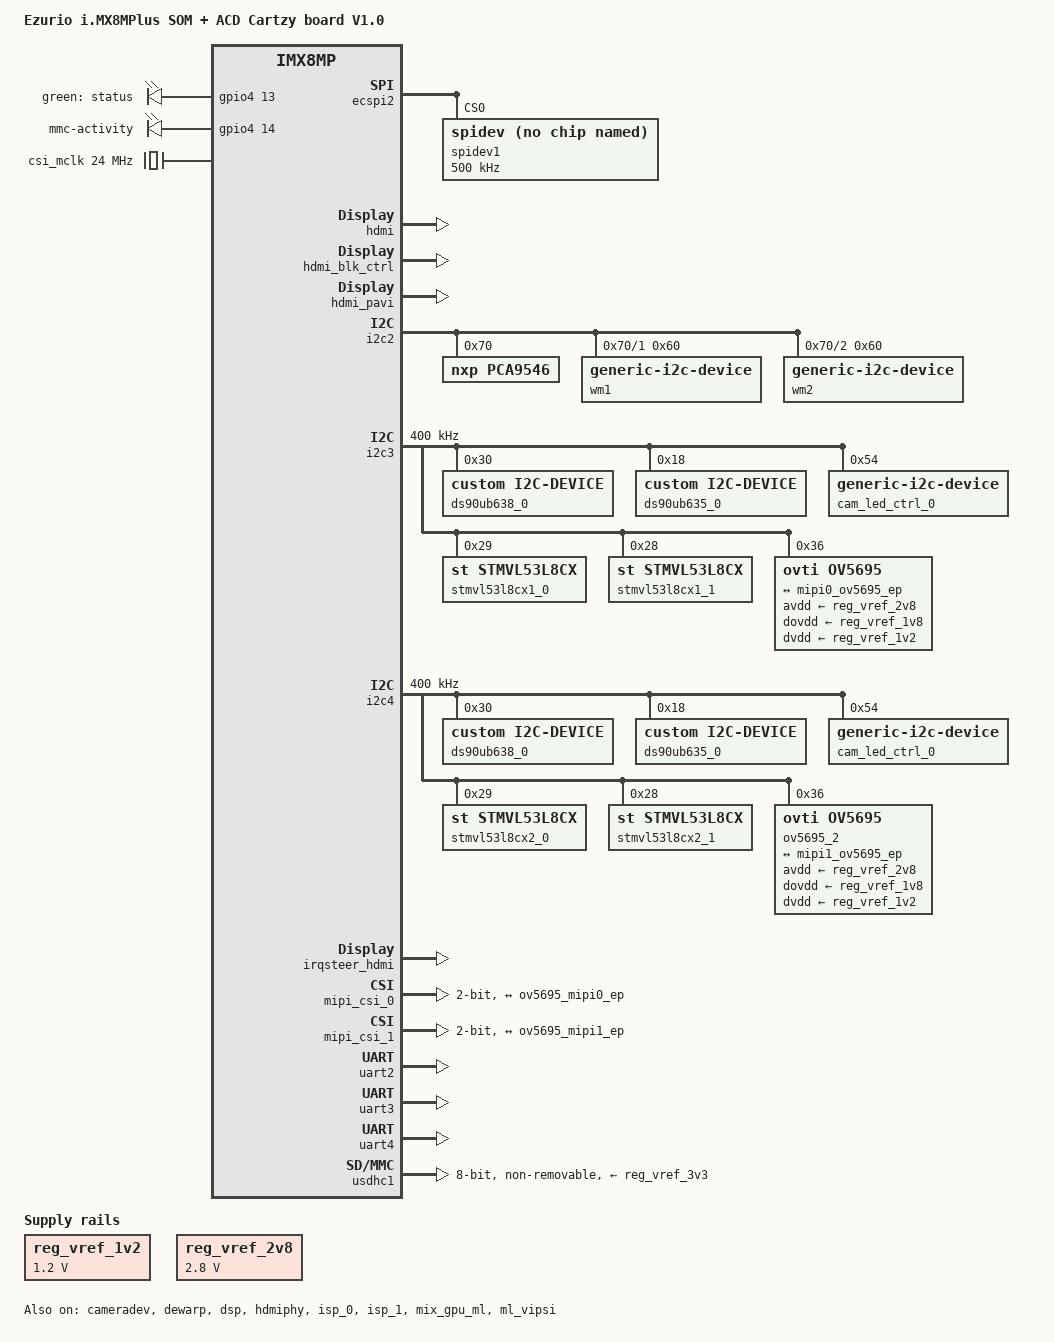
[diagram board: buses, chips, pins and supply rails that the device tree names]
// SPDX-License-Identifier: (GPL-2.0+ OR MIT)
/*
 * Device Tree file for Boundary Devices Nitrogen8MP SOM
 * installed on Cartzy Control Board V1.0 by ACD
 *
 * @author Nikita Bulaev agency@grovety.com
 */

/dts-v1/;

#include <dt-bindings/usb/pd.h>
#include <dt-bindings/interconnect/ti,ds90ub635.h>
#include <dt-bindings/interconnect/ti,ds90ub638.h>
#include "imx8mp-nitrogen8mp-som.dtsi"

&iomuxc {
	pinctrl-names = "default";
	pinctrl-0 = <&pinctrl_hog>;

	pinctrl_gpio_led: gpioledgrp {
		fsl,pins = <
		/* These pins controled by gpio-leds */
		MX8MP_IOMUXC_SAI1_TXD1__GPIO4_IO13    0x140 /* Blue CPU LED1 */
		MX8MP_IOMUXC_SAI1_TXD2__GPIO4_IO14	  0x140 /* Blue CPU LED2 */

		/* These pins controled by gpio-keys */

#define GP_CPU_LED3	<&gpio4 15 GPIO_ACTIVE_HIGH>
		MX8MP_IOMUXC_SAI1_TXD3__GPIO4_IO15	  0x100 /* Blue CPU LED3 */
		>;
	};

	pinctrl_ecspi2: ecspi2grp {
		fsl,pins = <
			/* J31 */
			MX8MP_IOMUXC_ECSPI2_SCLK__ECSPI2_SCLK		0x82	/* Pin 20 */
			MX8MP_IOMUXC_ECSPI2_MOSI__ECSPI2_MOSI		0x82	/* Pin 10 */
			MX8MP_IOMUXC_ECSPI2_MISO__ECSPI2_MISO		0x82	/* Pin 8 */
#define GP_ECSPI2_CS	<&gpio5 13 GPIO_ACTIVE_LOW>
			MX8MP_IOMUXC_ECSPI2_SS0__GPIO5_IO13		0x143	/* Pin 6 */
		>;
	};

	pinctrl_hog: hoggrp {
		fsl,pins = <
			MX8MP_IOMUXC_HDMI_DDC_SCL__HDMIMIX_HDMI_SCL	0x400001c3
			MX8MP_IOMUXC_HDMI_DDC_SDA__HDMIMIX_HDMI_SDA	0x400001c3
			MX8MP_IOMUXC_HDMI_HPD__HDMIMIX_HDMI_HPD		0x40000019
			MX8MP_IOMUXC_HDMI_CEC__HDMIMIX_HDMI_CEC		0x40000019
			MX8MP_IOMUXC_NAND_DATA01__GPIO3_IO07		0x119
			/* J31 */
			MX8MP_IOMUXC_SPDIF_RX__GPIO5_IO04		0x41	/* Pin 17 */
			MX8MP_IOMUXC_SPDIF_EXT_CLK__GPIO5_IO05	0x41	/* Pin 19 */
			MX8MP_IOMUXC_SPDIF_TX__GPIO5_IO03		0x41	/* Pin 21 */
			MX8MP_IOMUXC_SAI1_MCLK__GPIO4_IO20		0x16	/* Pin 2 */
			MX8MP_IOMUXC_SAI1_TXD7__GPIO4_IO19		0x1c4	/* Pin 4 */

#define WM_RESET_CTRL	<&gpio4 16 GPIO_ACTIVE_HIGH>
			MX8MP_IOMUXC_SAI1_TXD4__GPIO4_IO16	0x100

#define CAM_POWER_CTRL	<&gpio4 18 GPIO_ACTIVE_HIGH>
			MX8MP_IOMUXC_SAI1_TXD6__GPIO4_IO18	0x1c0
		>;
	};

/*	pinctrl_i2c2_pca9546: i2c2-pca9546grp {
		fsl,pins = <
#define GP_PCA9546_RESET	<&gpio1 5 GPIO_ACTIVE_LOW>
			MX8MP_IOMUXC_GPIO1_IO05__GPIO1_IO05        	0x100
		>;
	};*/

	pinctrl_pdm: pdmgrp {
		fsl,pins = <
			MX8MP_IOMUXC_SAI1_RXC__AUDIOMIX_PDM_CLK			0xd6
			MX8MP_IOMUXC_SAI3_RXFS__AUDIOMIX_PDM_BIT_STREAM00	0xd6
		>;
	};

	pinctrl_pwm4: pwm4grp {
		fsl,pins = <
			/* J31, pin 36 */
			MX8MP_IOMUXC_SAI5_RXFS__PWM4_OUT	0x116
		>;
	};

	pinctrl_reg_usbotg_vbus: reg-usbotg-vbusgrp {
		fsl,pins = <
#define GP_REG_USB_OTG_VBUS	<&gpio1 12 GPIO_ACTIVE_HIGH>
			MX8MP_IOMUXC_GPIO1_IO12__GPIO1_IO12	0x100
		>;
	};

	pinctrl_uart2: uart2grp {
		fsl,pins = <
			MX8MP_IOMUXC_UART2_RXD__UART2_DCE_RX	0x140
			MX8MP_IOMUXC_UART2_TXD__UART2_DCE_TX	0x140
		>;
	};

	pinctrl_uart3: uart3grp {
		fsl,pins = <
			MX8MP_IOMUXC_ECSPI1_SCLK__UART3_DCE_RX	0x140
			MX8MP_IOMUXC_ECSPI1_MOSI__UART3_DCE_TX	0x140
		>;
	};

	pinctrl_uart4: uart4grp {
		fsl,pins = <
			MX8MP_IOMUXC_UART4_RXD__UART4_DCE_RX	0x140
			MX8MP_IOMUXC_UART4_TXD__UART4_DCE_TX	0x140
		>;
	};

	pinctrl_usdhc1: usdhc1grp {
		fsl,pins = <
		MX8MP_IOMUXC_SD1_CLK__USDHC1_CLK    0x190
		MX8MP_IOMUXC_SD1_CMD__USDHC1_CMD    0x1d0
		MX8MP_IOMUXC_SD1_DATA0__USDHC1_DATA0    0x1d0
		MX8MP_IOMUXC_SD1_DATA1__USDHC1_DATA1    0x1d0
		MX8MP_IOMUXC_SD1_DATA2__USDHC1_DATA2    0x1d0
		MX8MP_IOMUXC_SD1_DATA3__USDHC1_DATA3    0x1d0
		MX8MP_IOMUXC_SD1_DATA4__USDHC1_DATA4    0x1d0
		MX8MP_IOMUXC_SD1_DATA5__USDHC1_DATA5    0x1d0
		MX8MP_IOMUXC_SD1_DATA6__USDHC1_DATA6    0x1d0
		MX8MP_IOMUXC_SD1_DATA7__USDHC1_DATA7    0x1d0
		/*MX8MP_IOMUXC_GPIO1_IO03__USDHC1_VSELECT    0x116*/
		MX8MP_IOMUXC_SD1_STROBE__USDHC1_STROBE    0x10
		MX8MP_IOMUXC_SD1_RESET_B__USDHC1_RESET_B 0x140
		>;
	};

	pinctrl_usdhc1_100mhz: usdhc1grp-100mhz {
		fsl,pins = <
		MX8MP_IOMUXC_SD1_CLK__USDHC1_CLK    0x194
		MX8MP_IOMUXC_SD1_CMD__USDHC1_CMD    0x1d4
		MX8MP_IOMUXC_SD1_DATA0__USDHC1_DATA0    0x1d4
		MX8MP_IOMUXC_SD1_DATA1__USDHC1_DATA1    0x1d4
		MX8MP_IOMUXC_SD1_DATA2__USDHC1_DATA2    0x1d4
		MX8MP_IOMUXC_SD1_DATA3__USDHC1_DATA3    0x1d4
		MX8MP_IOMUXC_SD1_DATA4__USDHC1_DATA4    0x1d4
		MX8MP_IOMUXC_SD1_DATA5__USDHC1_DATA5    0x1d4
		MX8MP_IOMUXC_SD1_DATA6__USDHC1_DATA6    0x1d4
		MX8MP_IOMUXC_SD1_DATA7__USDHC1_DATA7    0x1d4
		MX8MP_IOMUXC_SD1_STROBE__USDHC1_STROBE  0x14
		>;
	};

	pinctrl_usdhc1_200mhz: usdhc1grp-200mhz {
		fsl,pins = <
		MX8MP_IOMUXC_SD1_CLK__USDHC1_CLK    0x196
		MX8MP_IOMUXC_SD1_CMD__USDHC1_CMD    0x1d6
		MX8MP_IOMUXC_SD1_DATA0__USDHC1_DATA0    0x1d6
		MX8MP_IOMUXC_SD1_DATA1__USDHC1_DATA1    0x1d6
		MX8MP_IOMUXC_SD1_DATA2__USDHC1_DATA2    0x1d6
		MX8MP_IOMUXC_SD1_DATA3__USDHC1_DATA3    0x1d6
		MX8MP_IOMUXC_SD1_DATA4__USDHC1_DATA4    0x1d6
		MX8MP_IOMUXC_SD1_DATA5__USDHC1_DATA5    0x1d6
		MX8MP_IOMUXC_SD1_DATA6__USDHC1_DATA6    0x1d6
		MX8MP_IOMUXC_SD1_DATA7__USDHC1_DATA7    0x1d6
		MX8MP_IOMUXC_SD1_STROBE__USDHC1_STROBE  0x12
		>;
	};

	/* No GPIO pins for camera
	pinctrl_i2c3_ov5695_mipi: i2c3-ov5695-mipigrp {
		fsl,pins = <>;
	};*/

	/* No GPIO pins for camera
	pinctrl_i2c4_ov5695_mipi: i2c4-ov5695-mipigrp {
		fsl,pins = <

		>;
	};
	*/

	pinctrl_i2c3_tof: i2c3_tofgrp {
		fsl,pins = <
		/* TOF 1/2 INT - Input, trigger on falling GPIO0 */
#define GP_TOF_INT1_2	<&gpio1 4 IRQ_TYPE_LEVEL_LOW>
		MX8MP_IOMUXC_GPIO1_IO04__GPIO1_IO04	0x166

		/* TOF 1 SYNC GPIO1 */
#define GP_TOF_SYNC1	<&gpio1 10 GPIO_ACTIVE_HIGH>
		MX8MP_IOMUXC_GPIO1_IO10__GPIO1_IO10	0x116

		/* TOF 1 RESET GPIO2 */
#define GP_TOF_RESET1  <&gpio1 13 GPIO_ACTIVE_HIGH>
		MX8MP_IOMUXC_GPIO1_IO13__GPIO1_IO13	0x106
		>;
	};

	pinctrl_i2c4_tof: i2c4_tofgrp {
		fsl,pins = <
		/* TOF 3/4 INT - Input, trigger on falling GPIO0 */
#define GP_TOF_INT3_4	<&gpio1 5 IRQ_TYPE_LEVEL_LOW>
		MX8MP_IOMUXC_GPIO1_IO05__GPIO1_IO05	0x166

		/* TOF 3 SYNC GPIO1 */
#define GP_TOF_SYNC3	<&gpio1 6 GPIO_ACTIVE_HIGH>
		MX8MP_IOMUXC_GPIO1_IO06__GPIO1_IO06	0x116

		/* TOF 3 RESET GPIO2 */
#define GP_TOF_RESET3	<&gpio1 8 GPIO_ACTIVE_HIGH>
		MX8MP_IOMUXC_GPIO1_IO08__GPIO1_IO08	0x106
		>;
	};
};

&pinctrl_i2c3_tof {
	/* TOF 2 SYNC GPIO3 */
	tof_sync2_open_drain: tof_sync2_open_drain {
		fsl,pins = <
#define GP_TOF_SYNC2    <&gpio1 7 (GPIO_ACTIVE_HIGH | GPIO_OPEN_DRAIN)>
		MX8MP_IOMUXC_GPIO1_IO07__GPIO1_IO07    0x030 /* OpenDrain output */
		>;
        drive-open-source; /* Also force open source */
    };
};

&pinctrl_i2c4_tof {
	/* TOF 4 SYNC GPIO3 */
	tof_sync4_open_drain: tof_sync4_open_drain {
		fsl,pins = <
#define GP_TOF_SYNC4    <&gpio1 14 (GPIO_ACTIVE_HIGH | GPIO_OPEN_DRAIN)>
		MX8MP_IOMUXC_GPIO1_IO14__GPIO1_IO14    0x030 /* OpenDrain output */
		>;
		drive-open-source; /* Also force open source */
	};
};

/ {
	model = "Ezurio i.MX8MPlus SOM + ACD Cartzy board V1.0";
	compatible = "fsl,imx8mp-custom-board", "boundary,imx8mp-nitrogen8mp", "fsl,imx8mp";

	aliases {
		fb_hdmi = &lcdif3;
	};

	chosen {
		stdout-path = &uart2;
	};

	gpio-leds {
		compatible = "gpio-leds";
		pinctrl-names = "default";
		pinctrl-0 = <&pinctrl_gpio_led>;

		status {
			label = "green: status";
			gpios = <&gpio4 13 GPIO_ACTIVE_HIGH>;
			default-state = "on";
			linux,default-trigger = "heartbeat";
		};

		activity_led {
			label = "mmc-activity";
			gpios = <&gpio4 14 GPIO_ACTIVE_HIGH>;
			linux,default-trigger = "mmc2";
		};
	};

	gpio_keys: gpio-keys {
		compatible = "gpio-keys";
		pinctrl-names = "default";
	};

	sound_hdmi: sound-hdmi {
		compatible = "fsl,imx-audio-hdmi";
		model = "audio-hdmi";
		audio-cpu = <&aud2htx>;
		hdmi-out;
		constraint-rate = <44100>,
				<88200>,
				<176400>,
				<32000>,
				<48000>,
				<96000>,
				<192000>;
		status = "disabled";
	};

	sound-wm8960 {
		status = "disabled";
	};

	csi_mclk: csi-mclk {
		compatible = "fixed-clock";
		#clock-cells = <0>;
		clock-frequency = <24000000>;
		clock-output-names = "csi_mclk";
		status = "okay";
	};

	reg_vref_1v2: regulator-vref-1v2 {
		compatible = "regulator-fixed";
		regulator-name = "vref-1v2";
		regulator-min-microvolt = <1200000>;
		regulator-max-microvolt = <1200000>;
	};

	reg_vref_2v8: regulator-vref-2v8 {
		compatible = "regulator-fixed";
		regulator-name = "vref-2v8";
		regulator-min-microvolt = <2800000>;
		regulator-max-microvolt = <2800000>;
	};
};

&aud2htx {
	status = "disabled";
};

&cameradev {
	status = "okay";
};

&isi_0 {
	status = "disabled";

	m2m_device {
		status = "disabled";
	};
};

&isi_1 {
	status = "disabled";
};

&dewarp {
	status = "okay";
};

&dsp {
	status = "okay";
};

&easrc {
	status = "disabled";
};

&ecspi2 {
	#address-cells = <1>;
	#size-cells = <0>;
	fsl,spi-num-chipselects = <1>;
	pinctrl-names = "default";
	pinctrl-0 = <&pinctrl_ecspi2>;
	cs-gpios = GP_ECSPI2_CS;
	status = "okay";

	spidev1: spi@0 {
		compatible = "spidev";
		reg = <0>;
		spi-max-frequency = <500000>;
	};
};

&fec {
	status = "disabled";
};

&eqos {
	status = "disabled";
};

&flexcan1 {
	status = "disabled";
};

&flexcan2 {
	status = "disabled";
};

&hdmi {
	status = "okay";
};

&hdmiphy {
	status = "okay";
};

&hdmi_blk_ctrl {
	status = "okay";
};

&hdmi_pavi {
	status = "okay";
};

&i2c2 {
	pca9546: i2cmux9546@70 {
		// pinctrl-names = "default";
		// pinctrl-0 = <&pinctrl_i2c2_pca9546>;
		compatible = "nxp,pca9546";
		reg = <0x70>;
		// reset-gpios = GP_PCA9546_RESET;
		#address-cells = <1>;
		#size-cells = <0>;

		i2c2a: i2c2@0 {
			clock-frequency = <100000>;
			reg = <0>;
			#address-cells = <1>;
			#size-cells = <0>;

			/* Battery module I2C */
		};

		i2c2b: i2c2@1 {
			clock-frequency = <100000>;
			reg = <1>;
			#address-cells = <1>;
			#size-cells = <0>;

			/* Weight module #1 I2C  */
			wm1@60 {
				compatible = "generic-i2c-device";
				reg = <0x60>;
			};
		};

		i2c2c: i2c2@2 {
			clock-frequency = <100000>;
			reg = <2>;
			#address-cells = <1>;
			#size-cells = <0>;

			/* Weight module #2 I2C  */
			wm2@60 {
				compatible = "generic-i2c-device";
				reg = <0x60>;
			};
		};

		i2c2d: i2c2@3 {
			clock-frequency = <100000>;
			reg = <3>;
			#address-cells = <1>;
			#size-cells = <0>;

			/* Display I2C */
		};
	};
};

&i2c2a {
	status = "disabled";
};

&i2c2b {
	status = "okay";
};

&i2c2c {
	status = "okay";
};

&i2c2d {
	status = "disabled";
};

&i2c3 {
	status = "okay";
	clock-frequency = <400000>;
	pinctrl-names = "default";

	/* DS90UB638 deserializer */
	ds90ub638_0@30 {
		compatible = "custom,i2c-device";
		reg = <0x30>;
		#address-cells = <1>;
		#size-cells = <0>;

		/*pinctrl-0 = <&pinctrl_ds90ub638_1>;		*/

		release-after-config = <1>;		// Release device after configuration

		init-regs {
			reg@0 {
				address = <TI_DS90UB638_RX_PORT_CTL_REG>;
				mask = <TI_DS90UB638_RX_PORT_CTL_STARTUP_BIT_MASK>;
				value = <TI_DS90UB638_RX_PORT_CTL_STARTUP_BIT_SET>;
				operation = "setbits";
			};
			reg@1 {
				address = <TI_DS90UB638_FWD_CTL2_REG>;
				mask = <TI_DS90UB638_FWD_CTL2_FWD_SYNC_AS_AVAIL_MASK>;
				value = <TI_DS90UB638_FWD_CTL2_FWD_SYNC_AS_AVAIL>;
				operation = "setbits";
			};
			reg@2 {
				address = <TI_DS90UB638_GENERAL_CFG_REG>;
				value = <(TI_DS90UB638_GENERAL_CFG_I2C_CONTROLLER_ENABLE |
							TI_DS90UB638_GENERAL_CFG_OUTPUT_EN_MODE |
							TI_DS90UB638_GENERAL_CFG_OUTPUT_ENABLE |
							TI_DS90UB638_GENERAL_CFG_OUTPUT_SLEEP_STATE_SELECT |
							TI_DS90UB638_GENERAL_CFG_RX_PARITY_CHECKER_ENABLE)>;
				operation = "overwrite";
			};
			reg@3 {
				address = <TI_DS90UB638_FPD3_PORT_SEL_REG>;
				value = <TI_DS90UB638_FPD3_PORT_SEL_RX_WRITE_PORT_0_EN>;
				operation = "overwrite";
			};
			reg@4 {
				address = <TI_DS90UB638_BCC_CONFIG_REG>;
				value = <(TI_DS90UB638_BCC_CONFIG_I2C_PASS_THROUGH_ALL_EN |
							TI_DS90UB638_BCC_CONFIG_BC_ALWAYS_ON_EN |
							TI_DS90UB638_BCC_CONFIG_BC_CRC_GENERATOR_ENABLE_EN|
							TI_DS90UB638_BCC_CONFIG_BC_FREQ_SELECT_50MBPS)>;
				operation = "overwrite";
			};
			reg@5 {
				address = <TI_DS90UB638_FWD_CTL1_REG>;
				mask = <TI_DS90UB638_FWD_CTL1_FWD_PORT0_MASK>;
				value = <TI_DS90UB638_FWD_CTL1_FWD_PORT0_EN>;
				operation = "setbits";
			};
			reg@6 {
				// Turn on GPIOs transfer
				address = <TI_DS90UB638_DATAPATH_CTL1_REG>;
				value = <TI_DS90UB638_DATAPATH_CTL1_FC_GPIO_EN_FOUR>;
				operation = "overwrite";
			};
			reg@7 {
				// GPIO1/2/3 - Inputs, this reg must me set first
				address = <TI_DS90UB638_GPIO_INPUT_CTL_REG>;
				value = <(TI_DS90UB638_GPIO_INPUT_CTL_GPIO1_EN |
							TI_DS90UB638_GPIO_INPUT_CTL_GPIO2_EN |
							TI_DS90UB638_GPIO_INPUT_CTL_GPIO3_EN)>;
				operation = "overwrite";
			};
			reg@8 {
				// GPIO0 - Output (ToF INTR)
				address = <TI_DS90UB638_GPIO0_PIN_CTL_REG>;
				value = <TI_DS90UB638_GPIOx_PIN_CTL_OUT_EN>;
				operation = "overwrite";
			};
			reg@10 {
				// GPIO1 - Input (ToF1/2 SYNC)
				address = <TI_DS90UB638_GPIO1_PIN_CTL_REG>;
				value = <TI_DS90UB638_GPIOx_PIN_CTL_OUT_DISABLE>;
				operation = "overwrite";
			};
			reg@11 {
				// GPIO2 - Input (ToF/Camera RESET)
				address = <TI_DS90UB638_GPIO2_PIN_CTL_REG>;
				value = <TI_DS90UB638_GPIOx_PIN_CTL_OUT_DISABLE>;
				operation = "overwrite";
			};
			reg@12 {
				// GPIO3 - Input (ToF3/4 SYNC)
				address = <TI_DS90UB638_GPIO3_PIN_CTL_REG>;
				value = <TI_DS90UB638_GPIOx_PIN_CTL_OUT_DISABLE>;
				operation = "overwrite";
			};
			reg@13 {
				// GPIO1 - data sent on GPIO1 for the port back channel. GPIO0 - DOWN
				address = <TI_DS90UB638_BC_GPIO_CTL0_REG>;
				value = <(TI_DS90UB638_BC_GPIO_GPIO1_SEL_GPIO1 | TI_DS90UB638_BC_GPIO_GPIO0_SEL_VAL0)>;
				operation = "overwrite";
			};
			reg@14 {
				// GPIO3 - data sent on GPIO3 for the port back channel, GPIO2 DOWN.
				address = <TI_DS90UB638_BC_GPIO_CTL1_REG>;
				value = <(TI_DS90UB638_BC_GPIO_GPIO3_SEL_GPIO3 | TI_DS90UB638_BC_GPIO_GPIO2_SEL_VAL0)>;
				operation = "overwrite";
			};
			reg@15 {
				// Turn on CSI and setup 2-lanes
				address = <TI_DS90UB638_CSI_CTL_REG>;
				value = <(TI_DS90UB638_CSI_CTL_CSI_LANE_COUNT_2 | TI_DS90UB638_CSI_CTL_CSI_EN)>;
				operation = "overwrite";
			};
		};
	};

	/* DS90UB635 serializer */
	ds90ub635_0@18 {
		compatible = "custom,i2c-device";
		reg = <0x18>;

		// Wait for ready flag from deserializer
		ready-flag-wait = "/sys/bus/i2c/devices/2-0030/ready_flag";

		release-after-config = <1>;    	// Release device after configuration

		init-regs {
			reg@0 {
				address = <TI_DS90UB635_GENERAL_CFG_REG>;
				value = <(TI_DS90UB635_GENERAL_CFG_CSI_SEL_2_LANE |
							TI_DS90UB635_GENERAL_CFG_CRC_TX_GEN_ENABLE |
							TI_DS90UB635_GENERAL_CFG_I2C_STRAP_MODE_1V8)>;
				operation = "overwrite";
			};
			reg@1 {
				// GPIO0 - Inputs (ToFs INTR), GPIO1/2/3 - Output (ToF1 SYNC, ToF/Camera RESET, ToF2 SYNC)
				address = <TI_DS90UB635_GPIO_INPUT_CTRL_REG>;
				value = <(TI_DS90UB635_GPIO_INPUT_CTRL_GPIO0_IN_EN |
							TI_DS90UB635_GPIO_INPUT_CTRL_GPIO1_OUT_EN |
							TI_DS90UB635_GPIO_INPUT_CTRL_GPIO2_OUT_EN |
							TI_DS90UB635_GPIO_INPUT_CTRL_GPIO3_OUT_EN)>;
				operation = "overwrite";
			};
			reg@2 {
				// Turn on GPIOs transfer
				address = <TI_DS90UB635_DATAPATH_CTL1_REG>;
				value = <(TI_DS90UB635_DATAPATH_CTL1_DCA_CRC_EN | TI_DS90UB635_DATAPATH_CTL1_FC_GPIO_EN_ONE)>;
				operation = "overwrite";
			};
		};
	};

	/* Camera led control */
	cam_led_ctrl_0@54 {
		compatible = "generic-i2c-device";
		reg = <0x54>;
	};

	/* Tof sensor #1 */
	stmvl53l8cx1_0: stmvl53l8cx_0@29 {
		// Will modprobe from udev script later
		compatible = "st,stmvl53l8cx";
		reg = <0x29>;
		dev-name = "stmvl53l8cx_1";
		pinctrl-0 = <&pinctrl_i2c3_tof>;
		// int-gpios = GP_TOF_INT1_2;
		sync-gpios = GP_TOF_SYNC1;
		sync-drive = "push-pull";
		status = "okay";
	};

	/* Tof sensor #2 */
	stmvl53l8cx1_1: stmvl53l8cx_1@28 {
		// Will modprobe from udev script later
		compatible = "st,stmvl53l8cx";
		reg = <0x28>;
		dev-name = "stmvl53l8cx_2";
		pinctrl-0 = <&pinctrl_i2c3_tof>;
		sync-gpios = GP_TOF_SYNC2;
		sync-drive = "open-drain";
		status = "okay";
	};

	ov5695: ov5695_mipi0@36 {
		avdd-supply = <&reg_vref_2v8>;
		dovdd-supply = <&reg_vref_1v8>;
		dvdd-supply = <&reg_vref_1v2>;
		clocks = <&csi_mclk>;
		clock-names = "xvclk";
		compatible = "ovti,ov5695", "ov5695";
		/*pinctrl-names = "default";*/
		/*pinctrl-0 = <&pinctrl_i2c3_ov5695_mipi>;*/ // No GPIO pins for camera
		reg = <0x36>;
		csi_id = <0>;
		/*reset-gpios = GP_OV5695_MIPI0_RESET;*/ // Used for ToF I2C block
		status = "okay";

		ready-flag-wait = "/sys/bus/i2c/devices/2-0018/ready_flag"; // Wait for ready flag

		port {
			ov5695_mipi0_ep: endpoint {
				clock-lanes = <0>;
				data-lanes = <1 2>;
				remote-endpoint = <&mipi0_ov5695_ep>;
				link-frequencies = /bits/ 64 <800000000>;

				max-lane-frequency = /bits/ 64 <800000000>;
				max-pixel-frequency = /bits/ 64 <266000000>;
			};
		};
	};
};

&i2c4 {
	status = "okay";
	clock-frequency = <400000>;
	pinctrl-names = "default";

	/* DS90UB638 deserializer */
	ds90ub638_0@30 {
		compatible = "custom,i2c-device";
		reg = <0x30>;
		#address-cells = <1>;
		#size-cells = <0>;

		/*pinctrl-0 = <&pinctrl_ds90ub638_1>;        */

		init-regs {
			reg@0 {
				address = <TI_DS90UB638_RX_PORT_CTL_REG>;
				mask = <TI_DS90UB638_RX_PORT_CTL_STARTUP_BIT_MASK>;
				value = <TI_DS90UB638_RX_PORT_CTL_STARTUP_BIT_SET>;
				operation = "setbits";
			};
			reg@1 {
				address = <TI_DS90UB638_FWD_CTL2_REG>;
				mask = <TI_DS90UB638_FWD_CTL2_FWD_SYNC_AS_AVAIL_MASK>;
				value = <TI_DS90UB638_FWD_CTL2_FWD_SYNC_AS_AVAIL>;
				operation = "setbits";
			};
			reg@2 {
				address = <TI_DS90UB638_GENERAL_CFG_REG>;
				value = <(TI_DS90UB638_GENERAL_CFG_I2C_CONTROLLER_ENABLE |
				TI_DS90UB638_GENERAL_CFG_OUTPUT_EN_MODE |
				TI_DS90UB638_GENERAL_CFG_OUTPUT_ENABLE |
				TI_DS90UB638_GENERAL_CFG_OUTPUT_SLEEP_STATE_SELECT |
				TI_DS90UB638_GENERAL_CFG_RX_PARITY_CHECKER_ENABLE)>;
				operation = "overwrite";
			};
			reg@3 {
				address = <TI_DS90UB638_FPD3_PORT_SEL_REG>;
				value = <TI_DS90UB638_FPD3_PORT_SEL_RX_WRITE_PORT_0_EN>;
				operation = "overwrite";
			};
			reg@4 {
				address = <TI_DS90UB638_BCC_CONFIG_REG>;
				value = <(TI_DS90UB638_BCC_CONFIG_I2C_PASS_THROUGH_ALL_EN |
				TI_DS90UB638_BCC_CONFIG_BC_ALWAYS_ON_EN |
				TI_DS90UB638_BCC_CONFIG_BC_CRC_GENERATOR_ENABLE_EN|
				TI_DS90UB638_BCC_CONFIG_BC_FREQ_SELECT_50MBPS)>;
				operation = "overwrite";
			};
			reg@5 {
				address = <TI_DS90UB638_FWD_CTL1_REG>;
				mask = <TI_DS90UB638_FWD_CTL1_FWD_PORT0_MASK>;
				value = <TI_DS90UB638_FWD_CTL1_FWD_PORT0_EN>;
				operation = "setbits";
			};
			reg@6 {
				// Turn on GPIOs transfer
				address = <TI_DS90UB638_DATAPATH_CTL1_REG>;
				value = <TI_DS90UB638_DATAPATH_CTL1_FC_GPIO_EN_FOUR>;
				operation = "overwrite";
			};
			reg@7 {
				// GPIO1/2/3 - Inputs, this reg must me set first
				address = <TI_DS90UB638_GPIO_INPUT_CTL_REG>;
				value = <(TI_DS90UB638_GPIO_INPUT_CTL_GPIO1_EN |
				TI_DS90UB638_GPIO_INPUT_CTL_GPIO2_EN |
				TI_DS90UB638_GPIO_INPUT_CTL_GPIO3_EN)>;
				operation = "overwrite";
			};
			reg@8 {
				// GPIO0 - Output (ToF INTR)
				address = <TI_DS90UB638_GPIO0_PIN_CTL_REG>;
				value = <TI_DS90UB638_GPIOx_PIN_CTL_OUT_EN>;
				operation = "overwrite";
			};
			reg@10 {
				// GPIO1 - Input (ToF1/2 SYNC)
				address = <TI_DS90UB638_GPIO1_PIN_CTL_REG>;
				value = <TI_DS90UB638_GPIOx_PIN_CTL_OUT_DISABLE>;
				operation = "overwrite";
			};
			reg@11 {
				// GPIO2 - Input (ToF/Camera RESET)
				address = <TI_DS90UB638_GPIO2_PIN_CTL_REG>;
				value = <TI_DS90UB638_GPIOx_PIN_CTL_OUT_DISABLE>;
				operation = "overwrite";
			};
			reg@12 {
				// GPIO3 - Input (ToF3/4 SYNC)
				address = <TI_DS90UB638_GPIO3_PIN_CTL_REG>;
				value = <TI_DS90UB638_GPIOx_PIN_CTL_OUT_DISABLE>;
				operation = "overwrite";
			};
			reg@13 {
				// GPIO1 - data sent on GPIO1 for the port back channel. GPIO0 - DOWN
				address = <TI_DS90UB638_BC_GPIO_CTL0_REG>;
				value = <(TI_DS90UB638_BC_GPIO_GPIO1_SEL_GPIO1 | TI_DS90UB638_BC_GPIO_GPIO0_SEL_VAL0)>;
				operation = "overwrite";
			};
			reg@14 {
				// GPIO3 - data sent on GPIO3 for the port back channel, GPIO2 DOWN.
				address = <TI_DS90UB638_BC_GPIO_CTL1_REG>;
				value = <(TI_DS90UB638_BC_GPIO_GPIO3_SEL_GPIO3 | TI_DS90UB638_BC_GPIO_GPIO2_SEL_VAL0)>;
				operation = "overwrite";
			};
			reg@15 {
				// Turn on CSI and setup 2-lanes
				address = <TI_DS90UB638_CSI_CTL_REG>;
				value = <(TI_DS90UB638_CSI_CTL_CSI_LANE_COUNT_2 | TI_DS90UB638_CSI_CTL_CSI_EN)>;
				operation = "overwrite";
			};
		};
	};

	/* DS90UB635 serializer */
	ds90ub635_0@18 {
		compatible = "custom,i2c-device";
		reg = <0x18>;

		// Wait for ready flag from deserializer
		ready-flag-wait = "/sys/bus/i2c/devices/3-0030/ready_flag";

		init-regs {
			reg@0 {
				address = <TI_DS90UB635_GENERAL_CFG_REG>;
				value = <(TI_DS90UB635_GENERAL_CFG_CSI_SEL_2_LANE |
				TI_DS90UB635_GENERAL_CFG_CRC_TX_GEN_ENABLE |
				TI_DS90UB635_GENERAL_CFG_I2C_STRAP_MODE_1V8)>;
				operation = "overwrite";
			};
			reg@1 {
				// GPIO0 - Inputs (ToFs INTR), GPIO1/2/3 - Output (ToF1 SYNC, ToF/Camera RESET, ToF2 SYNC)
				address = <TI_DS90UB635_GPIO_INPUT_CTRL_REG>;
				value = <(TI_DS90UB635_GPIO_INPUT_CTRL_GPIO0_IN_EN |
				TI_DS90UB635_GPIO_INPUT_CTRL_GPIO1_OUT_EN |
				TI_DS90UB635_GPIO_INPUT_CTRL_GPIO2_OUT_EN |
				TI_DS90UB635_GPIO_INPUT_CTRL_GPIO3_OUT_EN)>;
				operation = "overwrite";
			};
			reg@2 {
				// Turn on GPIOs transfer
				address = <TI_DS90UB635_DATAPATH_CTL1_REG>;
				value = <(TI_DS90UB635_DATAPATH_CTL1_DCA_CRC_EN | TI_DS90UB635_DATAPATH_CTL1_FC_GPIO_EN_ONE)>;
				operation = "overwrite";
			};
		};
	};

	/* Camera led control */
	cam_led_ctrl_0@54 {
		compatible = "generic-i2c-device";
		reg = <0x54>;
	};

	/* Tof sensor #1 */
	stmvl53l8cx2_0: stmvl53l8cx_0@29 {
		compatible = "st,stmvl53l8cx";
		reg = <0x29>;
		dev-name = "stmvl53l8cx_3";
		/*pinctrl-names = "default";*/
		pinctrl-0 = <&pinctrl_i2c4_tof>;
		// int-gpios = GP_TOF_INT3_4;
		sync-gpios = GP_TOF_SYNC3;
		sync-drive = "push-pull";
		status = "okay";
	};

	/* Tof sensor #2 */
	stmvl53l8cx2_1: stmvl53l8cx_1@28 {
		compatible = "st,stmvl53l8cx";
		reg = <0x28>;
		dev-name = "stmvl53l8cx_4";
		pinctrl-0 = <&pinctrl_i2c4_tof>;
		sync-gpios = GP_TOF_SYNC4;
		sync-drive = "open-drain";
		status = "okay";
	};

	ov5695_2: ov5695_mipi1@36 {
		avdd-supply = <&reg_vref_2v8>;
		dovdd-supply = <&reg_vref_1v8>;
		dvdd-supply = <&reg_vref_1v2>;
		clocks = <&csi_mclk>;
		clock-names = "xvclk";
		compatible = "ovti,ov5695", "ov5695";
		/*pinctrl-names = "default";*/
		/*pinctrl-0 = <&pinctrl_i2c4_ov5695_mipi>;*/ // No GPIO pins for camera
		reg = <0x36>;
		csi_id = <1>;
		/*reset-gpios = GP_OV5695_MIPI1_RESET;*/ // Used for ToF I2C block
		status = "okay";

		port {
			ov5695_mipi1_ep: endpoint {
				clock-lanes = <0>;
				data-lanes = <1 2>;
				remote-endpoint = <&mipi1_ov5695_ep>;
				link-frequencies = /bits/ 64 <800000000>;

				max-lane-frequency = /bits/ 64 <800000000>;
				max-pixel-frequency = /bits/ 64 <266000000>;
			};
		};
	};
};

&irqsteer_hdmi {
	status = "okay";
};

&isp_0 {
	status = "okay";
};

&isp_1 {
	status = "okay";
};

&micfil {
	status = "disabled";
};

&mipi_csi_0 {
	#address-cells = <1>;
	#size-cells = <0>;
	status = "okay";
	clock-frequency = <266000000>;
	assigned-clock-parents = <&clk IMX8MP_SYS_PLL1_266M>;
	assigned-clock-rates = <266000000>;
	bus-width = <2>;

	port@0 {
		reg = <0>;

		mipi0_ov5695_ep: endpoint {
			remote-endpoint = <&ov5695_mipi0_ep>;
			data-lanes = <2>;
			csis-hs-settle = <13>;
			csis-clk-settle = <2>;
			csis-wclk;
		};
	};
};

&mipi_csi_1 {
	#address-cells = <1>;
	#size-cells = <0>;
	status = "okay";
	clock-frequency = <266000000>;
	assigned-clock-parents = <&clk IMX8MP_SYS_PLL1_266M>;
	assigned-clock-rates = <266000000>;
	bus-width = <2>;

	port@1 {
		reg = <1>;

		mipi1_ov5695_ep: endpoint {
			remote-endpoint = <&ov5695_mipi1_ep>;
			data-lanes = <2>;
			csis-hs-settle = <13>;
			csis-clk-settle = <2>;
			csis-wclk;
		};
	};
};

&mix_gpu_ml {
	status = "okay";
};

&ml_vipsi {
	status = "okay";
};

&pcie {
	status = "disabled";
};

&pcie_phy {
	status = "disabled";
};

&pwm4 {
	pinctrl-names = "default";
	pinctrl-0 = <&pinctrl_pwm4>;
	status = "disabled";
};

&sai3 {
	status = "disabled";
};

&uart2 {
	/* console */
	pinctrl-names = "default";
	pinctrl-0 = <&pinctrl_uart2>;
	status = "okay";
};

&uart3 {
	pinctrl-names = "default";
	pinctrl-0 = <&pinctrl_uart3>;
	assigned-clocks = <&clk IMX8MP_CLK_UART3>;
	assigned-clock-parents = <&clk IMX8MP_SYS_PLL1_80M>;
	status = "okay";
};

&uart4 {
	pinctrl-names = "default";
	pinctrl-0 = <&pinctrl_uart4>;
	assigned-clocks = <&clk IMX8MP_CLK_UART4>;
	assigned-clock-parents = <&clk IMX8MP_SYS_PLL1_80M>;
	status = "okay";
};

/delete-node/ &usb3_0;
/delete-node/ &usb3_1;
/delete-node/ &usb3_phy0;
/delete-node/ &usb3_phy1;

&usdhc1 {
	status = "okay";
	non-removable;
	bus-width = <8>;
	pinctrl-names = "default", "state_100mhz", "state_200mhz";
	pinctrl-0 = <&pinctrl_usdhc1>;
	pinctrl-1 = <&pinctrl_usdhc1_100mhz>;
	pinctrl-2 = <&pinctrl_usdhc1_200mhz>;
	vmmc-supply = <&reg_vref_3v3>;
	vqmmc-1-8-v;
	vqmmc-supply = <&reg_vref_1v8>;
};

